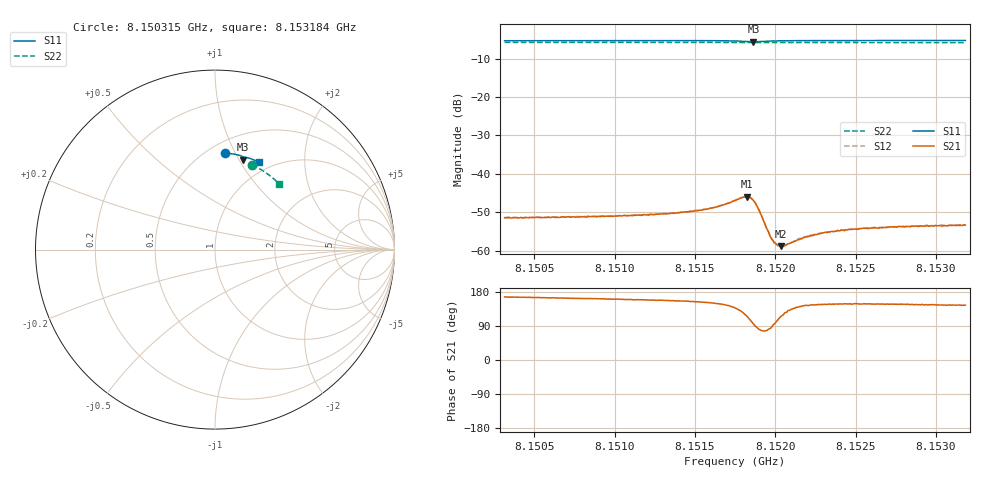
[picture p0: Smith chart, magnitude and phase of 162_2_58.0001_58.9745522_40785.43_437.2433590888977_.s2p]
#  HZ  S  RI  R  50.00
! Rohde & Schwarz Vector Network Analyzer
! Rohde-Schwarz,ZNB20-2Port,1311601062101988,3.16
! Created: UTC 3/21/2024, 12:57:28 AM
! freq[Hz]  re:S11  im:S11  re:S21  im:S21  re:S12  im:S12  re:S22  im:S22
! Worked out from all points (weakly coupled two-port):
!   401 points, 8.150315 GHz to 8.153184 GHz, reference 50 ohm
!   highest |S21| = -45.92 dB at 8.151821 GHz (marker M1); lowest = -58.8 dB at 8.152036 GHz (marker M2)
!   lowest |S11| = -5.6 dB at 8.151864 GHz (marker M3), VSWR 3.21, Z = 37.4 + j51.8 ohm
!   |S11| at or under -10 dB: nowhere
!   |S22| runs from -5.8 to -5.8 dB; largest |S21 - S12| = 0.00014
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8.1503152e9  0.0537 0.5386  -0.00261 0.000624  -0.00259 0.000709  0.2064 0.4722
8.1507957e9  0.0874 0.5347  -0.00264 0.000853  -0.00267 0.000875  0.2341 0.4585
8.1512762e9  0.1214 0.5286  -0.00277 0.00112  -0.00279 0.00117  0.2611 0.443
8.1513909e9  0.1297 0.5266  -0.00284 0.00127  -0.00283 0.00132  0.2672 0.439
8.1515559e9  0.1423 0.5231  -0.00304 0.0016  -0.00306 0.00165  0.2762 0.4332
8.1516491e9  0.1498 0.5198  -0.00322 0.00199  -0.00323 0.00204  0.2811 0.4298
8.1517495e9  0.1581 0.5134  -0.0033 0.00303  -0.00329 0.00311  0.2866 0.4259
8.1518212e9  0.1592 0.5041  -0.00224 0.00454  -0.00222 0.00457  0.2899 0.423
8.1518427e9  0.1568 0.5019  -0.00136 0.00473  -0.00132 0.0048  0.2909 0.4222
8.1518642e9  0.1533 0.5018  -0.000401 0.00449  -0.000358 0.00452  0.2917 0.4214
8.1518929e9  0.1502 0.5049  0.000434 0.00355  0.000502 0.0036  0.2931 0.4207
8.1519575e9  0.1534 0.5126  0.000274 0.00175  0.000303 0.00175  0.2968 0.4186
8.151979e9  0.1558 0.5139  6.81e-05 0.0014  7.08e-05 0.00141  0.2978 0.4178
8.1520077e9  0.1588 0.5147  -0.00025 0.00118  -0.000232 0.00119  0.2993 0.4167
8.1520364e9  0.162 0.5152  -0.000494 0.00104  -0.000482 0.00108  0.3009 0.4157
8.1520794e9  0.1658 0.5151  -0.000799 0.000939  -0.000744 0.000958  0.3031 0.4139
8.1521368e9  0.171 0.5146  -0.00104 0.00091  -0.00104 0.00095  0.306 0.4117
8.15223e9  0.1784 0.5128  -0.00131 0.000912  -0.00129 0.000914  0.3109 0.4081
8.1522945e9  0.1833 0.5115  -0.00143 0.000931  -0.00141 0.00094  0.3141 0.4054
8.1524236e9  0.1925 0.5086  -0.00157 0.000995  -0.00157 0.000998  0.3206 0.4001
8.1527105e9  0.212 0.5016  -0.00172 0.00111  -0.00168 0.00111  0.3344 0.3881
8.1531838e9  0.2427 0.4885  -0.00176 0.00124  -0.00176 0.00128  0.3561 0.3673
